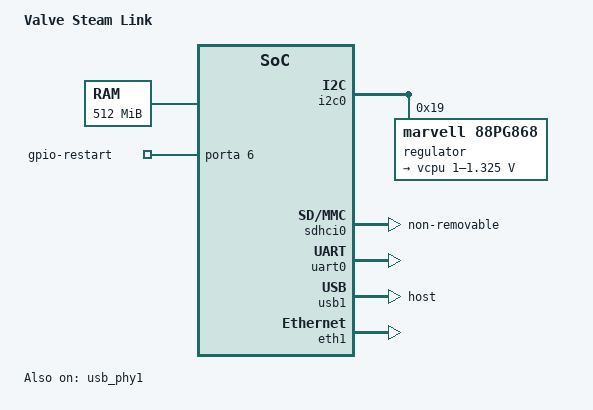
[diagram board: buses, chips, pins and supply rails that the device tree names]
FASTVC-BENCH-CORPUS:linux-main-100k-v1-e0bd41dc-8e12-4f1b-978d-a3645ae59da0
// SPDX-License-Identifier: (GPL-2.0 OR MIT)
/*
/* bench 11443.1.0 713ccf787ada */
/* bench 11443.1.1 53175e3c0b65 */
/* bench 11443.1.2 76efb4e0fdd4 */
/* bench 11443.1.3 26446543c11d */
/* bench 11443.1.4 b022a2810b13 */
/* bench 11443.1.5 8598fd582fc3 */
/* bench 11443.1.6 6c99d3920dfa */
/* bench 11443.1.7 e11688898acc */
/* bench 11443.1.8 cfc2a1ed79c0 */
/* bench 11443.1.9 5e74d3400240 */
/* bench 11443.1.10 a4aeeefa47c1 */
/* bench 11443.1.11 d1e2a8334a8e */
/* bench 11443.1.12 72d9ae36337d */
 */
/dts-v1/;

#include "berlin2cd.dtsi"
#include <dt-bindings/gpio/gpio.h>

/ {
	model = "Valve Steam Link";
	compatible = "valve,steamlink", "marvell,berlin2cd", "marvell,berlin";

	memory@0 {
		device_type = "memory";
		reg = <0x00000000 0x20000000>; /* 512 MB */
	};

	gpio-restart {
		compatible = "gpio-restart";
		gpios = <&porta 6 GPIO_ACTIVE_HIGH>;
		active-delay = <100>;
		inactive-delay = <10>;
		wait-delay = <100>;
		priority = <200>;
	};
};

&cpu {
	cpu-supply = <&vcpu>;
	operating-points = <
		/* kHz    uV */
		1000000 1325000
	>;
};

&i2c0 {
	status = "okay";

	/* There are two regulators on the board. One is accessible via I2C,
	 * with buck1 providing SoC power (set up by bootloader to 1.325V or
	 * less depending on leakage value in OTP), and buck2 likely used for
	 * DRAM (providing 1.35V). The other regulator on the opposite side
	 * of the board is probably supplying SDIO and NAND fixed voltages. */
	regulator@19 {
		compatible = "marvell,88pg868";
		reg = <0x19>;

		vcpu: buck1 {
			regulator-boot-on;
			regulator-always-on;
			regulator-min-microvolt = <1000000>;
			regulator-max-microvolt = <1325000>;
		};
	};
};

/* Fixed interface to on-board Marvell 8897 Wi-Fi/Bluetooth/NFC chip. */
&sdhci0 {
	keep-power-in-suspend;
	non-removable;
	status = "okay";
};

&uart0 {
	/* RX/TX are routed to TP50/TP51 on the board. */
	status = "okay";
};

/* The SoC is connected to on-board USB hub that in turn has one downstream
 * port wired to the on-board Steam Controller wireless receiver chip. */
&usb_phy1 { status = "okay"; };

&usb1 {
	dr_mode = "host";
	status = "okay";
};

&eth1 { status = "okay"; };
